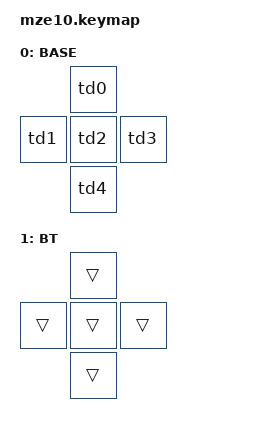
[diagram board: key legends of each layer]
/*
 * Copyright (c) 2020 The ZMK Contributors
 *
 * SPDX-License-Identifier: MIT
 */

 #include <behaviors.dtsi>
 #include <dt-bindings/zmk/keys.h>
 #include <dt-bindings/zmk/bt.h>
 #include <dt-bindings/zmk/outputs.h>
 #include <behaviors/rgbled_widget.dtsi> 

 #define BASE 0
 #define BT   1

 
 &mt {
   quick-tap-ms = <100>;
   global-quick-tap;
   flavor = "tap-preferred";
   tapping-term-ms = <300>;
 };
 
 / {
    behaviors {
        td0: tap_dance_0 {
            compatible = "zmk,behavior-tap-dance";
            label = "TAP_DANCE_0";
            #binding-cells = <0>;
            tapping-term-ms = <300>;
            bindings = <&kp C_VOL_UP>, <&bt BT_SEL 1>, <&bt BT_SEL 2>, <&bt BT_SEL 3>;
        };
        td1: tap_dance_1 {
          compatible = "zmk,behavior-tap-dance";
          label = "TAP_DANCE_1";
          #binding-cells = <0>;
          tapping-term-ms = <300>;
          bindings = <&kp C_PREV>, <&kp C_REWIND>, <&out OUT_BLE>;
        };
        td2: tap_dance_2 {
            compatible = "zmk,behavior-tap-dance";
            label = "TAP_DANCE_2";
            #binding-cells = <0>;
            tapping-term-ms = <300>;
            bindings = <&kp C_PLAY_PAUSE>, <&sys_reset>, <&bootloader>;
        };
        td3: tap_dance_3 {
          compatible = "zmk,behavior-tap-dance";
          label = "TAP_DANCE_3";
          #binding-cells = <0>;
          tapping-term-ms = <300>;
          bindings = <&kp C_NEXT>, <&kp C_FF>, <&studio_unlock>;
        };
        td4: tap_dance_4 {
          compatible = "zmk,behavior-tap-dance";
          label = "TAP_DANCE_4";
          #binding-cells = <0>;
          tapping-term-ms = <300>;
          bindings = <&kp C_VOL_DN>, <&bt BT_SEL 0>, <&bt BT_CLR>;
        };
    };
     keymap {
                 compatible = "zmk,keymap";
 
 // ▄▄▄▄▄▄▄▄▄▄▄▄▄▄▄▄▄▄▄▄▄▄▄▄▄▄▄▄▄▄▄▄▄▄▄▄▄▄▄▄▄
                 base_layer {
 // ┏━━━━━━━━━━━━━━━━━━━━━━━━━━━━━━━━━━━━━━━┓
                 label= "BASE"              ;
 // ┗━━━━━━━━━━━━━━━━━━━━━━━━━━━━━━━━━━━━━━━┛
 //              ┏━━━━━━━━━━━━┓
 //              ┃   Vol Up   ┃
 //┏━━━━━━━━━━━━━┣━━━━━━━━━━━━┫━━━━━━━━━━━━━┓
 //┃  Previous   ┃ Multi-Play ┃    Next     ┃
 //┗━━━━━━━━━━━━━┣━━━━━━━━━━━━┫━━━━━━━━━━━━━┛
 //              ┃  Vol Down  ┃ 
 //              ┗━━━━━━━━━━━━┛
 //
  bindings = <
 //
            &td0
    &td1    &td2    &td3
            &td4
         >;
                 };
 
 // ▄▄▄▄▄▄▄▄▄▄▄▄▄▄▄▄▄▄▄▄▄▄▄▄▄▄▄▄▄▄▄▄▄▄▄▄▄▄▄▄▄
 
                 bt_layer {
 // ┏━━━━━━━━━━━━━━━━━━━━━━━━━━━━━━━━━━━━━━━┓
                 label= "BT"               ;
 // ┗━━━━━━━━━━━━━━━━━━━━━━━━━━━━━━━━━━━━━━━┛
 //              ┏━━━━━━━━━━━━┓
 //              ┃            ┃
 //┏━━━━━━━━━━━━━┣━━━━━━━━━━━━┫━━━━━━━━━━━━━┓
 //┃             ┃            ┃             ┃
 //┗━━━━━━━━━━━━━┣━━━━━━━━━━━━┫━━━━━━━━━━━━━┛
 //              ┃            ┃ 
 //              ┗━━━━━━━━━━━━┛
//
  bindings = <
 //
                &trans
    &trans      &trans      &trans
                &trans   
         >;
                 };
         };
 };
